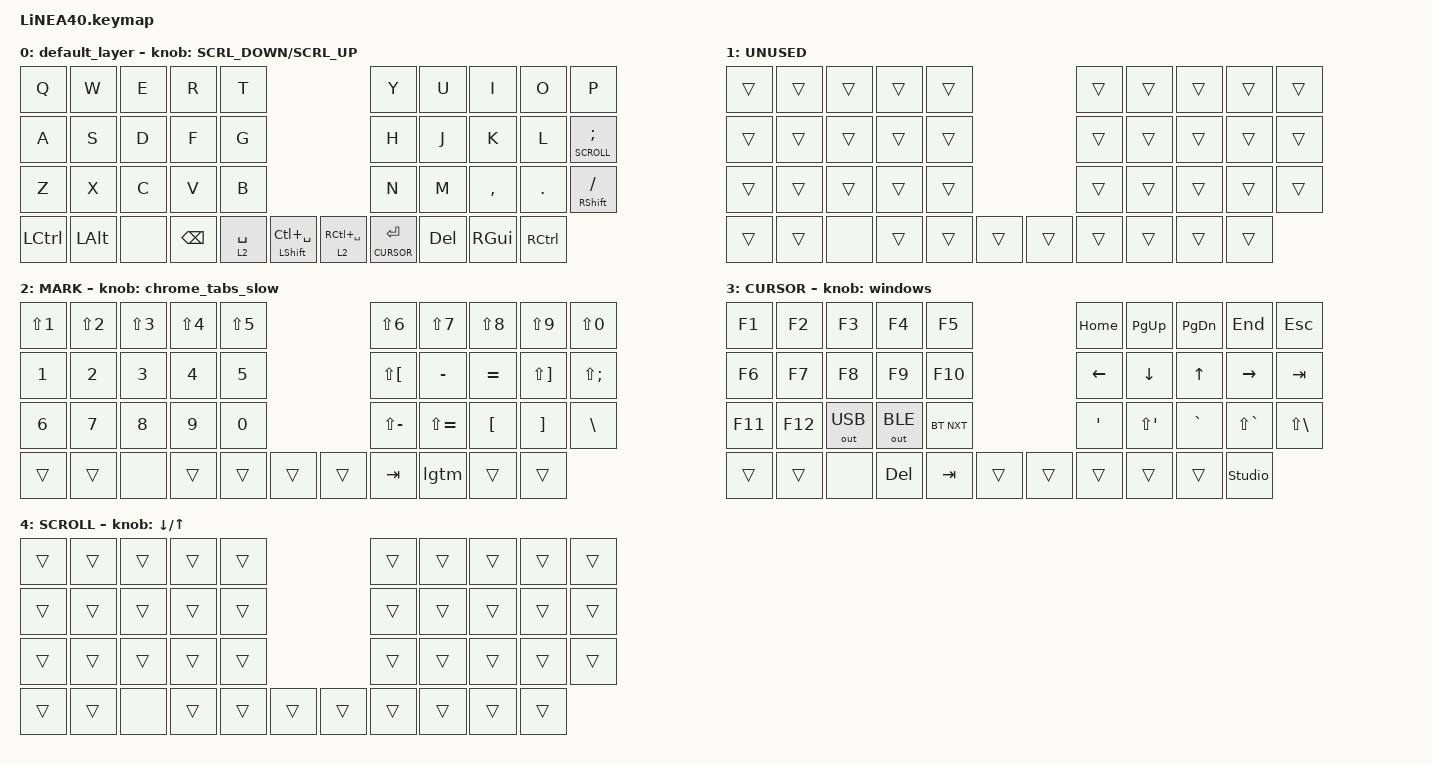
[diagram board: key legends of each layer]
#define ZMK_POINTING_DEFAULT_SCRL_VAL 150

#include <dt-bindings/zmk/input_transform.h>
#include <input/processors.dtsi>
#include <zephyr/dt-bindings/input/input-event-codes.h>
#include <behaviors.dtsi>
#include <dt-bindings/zmk/bt.h>
#include <dt-bindings/zmk/keys.h>
#include <dt-bindings/zmk/outputs.h>
#include <dt-bindings/zmk/pointing.h>

#define MARK 2
#define CURSOR 3
#define SCROLL 4

//mouse cursol

&mmv {
    delay-ms = <20>;
    trigger-period-ms = <5>;
    time-to-max-speed-ms = <100>;
    acceleration-exponent = <2>;
};

//mouse scroll

&msc {
    delay-ms = <3>;
    trigger-period-ms = <3>;
    time-to-max-speed-ms = <100>;
    acceleration-exponent = <0>;
};

&trackball_listener {
    scroller {
        layers = <SCROLL>;
        input-processors =
            <&zip_xy_transform INPUT_TRANSFORM_Y_INVERT>,
            //スクロール方向を逆転
            <&zip_xy_to_scroll_mapper>,
            //物理トラックボールのホイール出力を1/8に固定
            <&zip_scroll_scaler 1 8>;
    };
};

/ {
    combos {
        compatible = "zmk,combos";

        LeftClick {
            bindings = <&mkp MB1>;
            key-positions = <16 17>;
            layers = <0 MARK CURSOR SCROLL>;
        };

        RightClick {
            bindings = <&mkp MB2>;
            key-positions = <17 18>;
            layers = <0 MARK CURSOR SCROLL>;
        };

        BackClick {
            bindings = <&mkp MB4>;
            key-positions = <15 16>;
            layers = <0 MARK CURSOR SCROLL>;
        };

        ForwardClick {
            bindings = <&mkp MB5>;
            key-positions = <27 28>;
            layers = <0 MARK CURSOR SCROLL>;
        };

        CtrlEnter {
            bindings = <&kp LC(ENTER)>;
            key-positions = <36 37>;
            layers = <0>;
        };
    };

    macros {
        compatible = "zmk,macros";

        // Torabo macro: type "LGTM!!" on a US layout.
        lgtm: lgtm {
            compatible = "zmk,behavior-macro";
            #binding-cells = <0>;
            wait-ms = <5>;
            tap-ms = <5>;
            bindings
                = <&macro_press &kp LSHFT>
                , <&macro_tap &kp L &kp G &kp T &kp M &kp N1 &kp N1>
                , <&macro_release &kp LSHFT>;
        };

    };

    behaviors {
        scroll_hold: scroll_hold {
            compatible = "zmk,behavior-hold-tap";
            #binding-cells = <2>;
            flavor = "tap-preferred";
            tapping-term-ms = <140>;
            bindings = <&mo>, <&kp>;
        };

        cursor_hold: cursor_hold {
            compatible = "zmk,behavior-hold-tap";
            #binding-cells = <2>;
            flavor = "tap-preferred";
            tapping-term-ms = <140>;
            bindings = <&mo>, <&kp>;
        };

        re_kp: sensor_rotate_kp {
            compatible = "zmk,behavior-sensor-rotate-var";
            #sensor-binding-cells = <2>;
            bindings = <&kp>, <&kp>;
        };

        chrome_prev_slow: chrome_prev_slow {
            compatible = "zmk,behavior-tap-dance";
            #binding-cells = <0>;
            tapping-term-ms = <180>;
            bindings = <&none>, <&kp LC(LS(TAB))>;
        };

        chrome_next_slow: chrome_next_slow {
            compatible = "zmk,behavior-tap-dance";
            #binding-cells = <0>;
            tapping-term-ms = <180>;
            bindings = <&none>, <&kp LC(TAB)>;
        };

        chrome_tabs_slow: chrome_tabs_slow {
            compatible = "zmk,behavior-sensor-rotate";
            #sensor-binding-cells = <0>;
            bindings = <&chrome_prev_slow>, <&chrome_next_slow>;
        };

        windows: windows {
            compatible = "zmk,behavior-sensor-rotate";
            #sensor-binding-cells = <0>;
            // Keep each Alt+Tab action self-contained so Alt cannot remain held.
            bindings = <&kp LA(LS(TAB))>, <&kp LA(TAB)>;
        };

        mouse_scrl: mouse_wheel_scrl {
            compatible = "zmk,behavior-sensor-rotate-var";
            #sensor-binding-cells = <2>;
            bindings = <&msc>, <&msc>;

            tap-ms = <20>;
        };
    };

    keymap {
        compatible = "zmk,keymap";

        default_layer {
            bindings = <
&kp Q          &kp W           &kp E     &kp R     &kp T                       &kp Y                &kp U        &kp I      &kp O      &kp P
&kp A          &kp S           &kp D     &kp F     &kp G                       &kp H                &kp J        &kp K      &kp L      &scroll_hold SCROLL SEMICOLON
&kp Z          &kp X           &kp C     &kp V     &kp B                       &kp N                &kp M        &kp COMMA  &kp DOT    &mt RIGHT_SHIFT SLASH
&kp LCTRL  &kp LALT  &none  &kp BACKSPACE  &lt 2 SPACE  &mt LEFT_SHIFT LC(SPACE)  &lt 2 RC(SPACE)  &cursor_hold CURSOR ENTER  &kp DEL  &kp RGUI  &kp RCTRL
            >;

            sensor-bindings = <&mouse_scrl SCRL_DOWN SCRL_UP>;
        };

        //1

        UNUSED {
            bindings = <
&trans  &trans  &trans  &trans  &trans                    &trans  &trans  &trans  &trans  &trans
&trans  &trans  &trans  &trans  &trans                    &trans  &trans  &trans  &trans  &trans
&trans  &trans  &trans  &trans  &trans                    &trans    &trans     &trans    &trans  &trans
&trans  &trans  &none   &trans  &trans  &trans    &trans  &trans              &trans     &trans    &trans
            >;
        };

        //2

        MARK {
            bindings = <
&kp LS(N1)  &kp LS(N2)  &kp LS(N3)  &kp LS(N4)  &kp LS(N5)                    &kp LS(N6)     &kp LS(N7)     &kp LS(N8)  &kp LS(N9)  &kp LS(N0)
&kp N1      &kp N2      &kp N3      &kp N4      &kp N5                       &kp LS(LBKT)   &kp MINUS      &kp EQUAL   &kp LS(RBKT)  &kp LS(SEMI)
&kp N6      &kp N7      &kp N8      &kp N9      &kp N0                       &kp LS(MINUS)  &kp LS(EQUAL)  &kp LBKT    &kp RBKT    &kp BSLH
&trans      &trans      &none       &trans      &trans      &trans    &trans  &kp TAB                   &lgtm         &trans      &trans
            >;

            sensor-bindings = <&chrome_tabs_slow>;
        };

        //3

        CURSOR {
            bindings = <
&kp F1   &kp F2        &kp F3       &kp F4        &kp F5                     &kp HOME  &kp PAGE_UP  &kp PAGE_DOWN  &kp END        &kp ESC
&kp F6   &kp F7        &kp F8       &kp F9        &kp F10                    &kp LEFT_ARROW  &kp DOWN  &kp UP_ARROW  &kp RIGHT_ARROW  &kp TAB
&kp F11  &kp F12       &out OUT_USB &out OUT_BLE  &bt BT_NXT                 &kp SQT   &kp LS(SQT)  &kp GRAVE      &kp LS(GRAVE)  &kp LS(BSLH)
&trans   &trans        &none        &kp DEL       &kp TAB  &trans    &trans  &trans                  &trans         &trans         &studio_unlock
            >;

            sensor-bindings = <&windows>;
        };

        //4

        SCROLL {
            bindings = <
&trans  &trans  &trans  &trans  &trans                    &trans  &trans  &trans  &trans  &trans
&trans  &trans  &trans  &trans  &trans                    &trans  &trans  &trans  &trans  &trans
&trans  &trans  &trans  &trans  &trans                    &trans  &trans  &trans  &trans  &trans
&trans  &trans  &none   &trans  &trans  &trans    &trans  &trans            &trans  &trans  &trans
            >;

            sensor-bindings = <&inc_dec_kp DOWN_ARROW UP_ARROW>;
        };
    };
};
